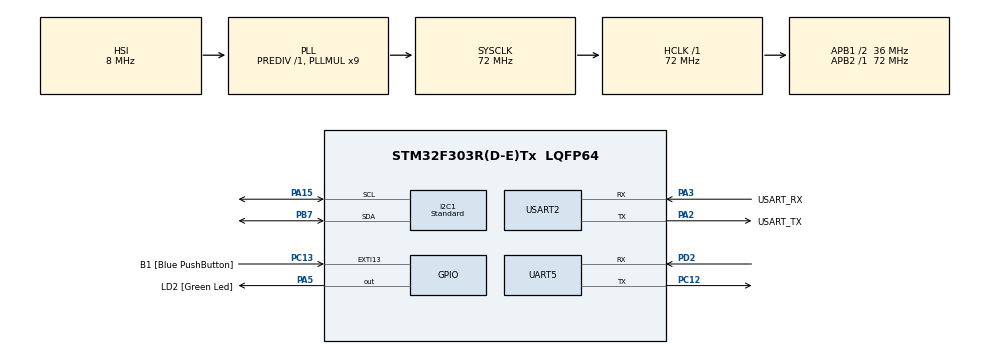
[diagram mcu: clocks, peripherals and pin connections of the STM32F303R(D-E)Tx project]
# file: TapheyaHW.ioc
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I2C1.I2C_Speed_Mode=I2C_Standard
Mcu.Family=STM32F3
Mcu.Name=STM32F303R(D-E)Tx
Mcu.Package=LQFP64
NVIC.PriorityGroup=NVIC_PRIORITYGROUP_0
PA13.GPIO_Label=TMS
PA13.Mode=Serial_Wire
PA13.Signal=SYS_JTMS-SWDIO
PA14.GPIO_Label=TCK
PA14.Mode=Serial_Wire
PA14.Signal=SYS_JTCK-SWCLK
PA15.Mode=I2C
PA15.Signal=I2C1_SCL
PA2.GPIO_Label=USART_TX
PA2.GPIO_Mode=GPIO_MODE_AF_PP
PA2.GPIO_PuPd=GPIO_NOPULL
PA2.GPIO_Speed=GPIO_SPEED_FREQ_LOW
PA2.Mode=Asynchronous
PA2.Signal=USART2_TX
PA3.GPIO_Label=USART_RX
PA3.GPIO_Mode=GPIO_MODE_AF_PP
PA3.GPIO_PuPd=GPIO_NOPULL
PA3.GPIO_Speed=GPIO_SPEED_FREQ_LOW
PA3.Mode=Asynchronous
PA3.Signal=USART2_RX
PA5.GPIO_Label=LD2 [Green Led]
PA5.GPIO_Mode=GPIO_MODE_OUTPUT_PP
PA5.GPIO_PuPd=GPIO_NOPULL
PA5.GPIO_Speed=GPIO_SPEED_FREQ_LOW
PA5.Signal=GPIO_Output
PB3.GPIO_Label=SWO
PB3.Signal=SYS_JTDO-TRACESWO
PB7.Mode=I2C
PB7.Signal=I2C1_SDA
PC12.Mode=Asynchronous
PC12.Signal=UART5_TX
PC13.GPIO_Label=B1 [Blue PushButton]
PC13.GPIO_ModeDefaultEXTI=GPIO_MODE_IT_FALLING
PC13.Signal=GPXTI13
PC14-OSC32_IN.Mode=LSE-External-Oscillator
PC14-OSC32_IN.Signal=RCC_OSC32_IN
PC15-OSC32_OUT.Mode=LSE-External-Oscillator
PC15-OSC32_OUT.Signal=RCC_OSC32_OUT
PD2.Mode=Asynchronous
PD2.Signal=UART5_RX
PF0-OSC_IN.Mode=HSE-External-Clock-Source
PF0-OSC_IN.Signal=RCC_OSC_IN
PF1-OSC_OUT.Signal=RCC_OSC_OUT
ProjectManager.HeapSize=0x200
ProjectManager.StackSize=0x400
ProjectManager.TargetToolchain=STM32CubeIDE
RCC.AHBFreq_Value=72000000
RCC.APB1CLKDivider=RCC_HCLK_DIV2
RCC.APB1Freq_Value=36000000
RCC.APB1TimFreq_Value=72000000
RCC.APB2Freq_Value=72000000
RCC.APB2TimFreq_Value=72000000
RCC.CortexFreq_Value=72000000
RCC.HCLKFreq_Value=72000000
RCC.HSE_VALUE=8000000
RCC.HSI_VALUE=8000000
RCC.PLLM=8
RCC.PLLMUL=RCC_PLL_MUL9
RCC.PLLN=336
RCC.PLLP=RCC_PLLP_DIV4
RCC.PLLQ=7
RCC.RCC_PLLsource_Clock_Source_FROM_HSE=RCC_HSE_PREDIV_DIV2
RCC.SYSCLKFreq_VALUE=72000000
RCC.SYSCLKSourceVirtual=RCC_SYSCLKSOURCE_PLLCLK
RCC.USBFreq_Value=72000000
USART2.VirtualMode-Asynchronous=VM_ASYNC
board=NUCLEO-F303RE

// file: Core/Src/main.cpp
/* USER CODE BEGIN Header */
/**
  ******************************************************************************
  * @file           : main.c
  * @brief          : Main program body
  ******************************************************************************
  * @attention
  *
  * Copyright (c) 2022 STMicroelectronics.
  * All rights reserved.
  *
  * This software is licensed under terms that can be found in the LICENSE file
  * in the root directory of this software component.
  * If no LICENSE file comes with this software, it is provided AS-IS.
  *
  ******************************************************************************
  */
/* USER CODE END Header */
#include "main.h"
#include "crc.h"
#include <stdio.h>
#include <sys/unistd.h>
#include "i2c.h"
#include "usart.h"
#include "gpio.h"
#include "nfc_driver.h"
#include "NdefMessage.h"
#include "ble_driver.h"
#include "cipher.h"

/* CBC context handle */

#define TIMEOUT 60000
#define MAJOR_V 0x01
#define MINOR_V 0x00
#define PATCH_V 0x00
#define HW_VER 0x00
#define HEADER_LEN 0x08
const char SN[] = {'S', 'N', 0x00, 0x00, 0x00, 0x00, 0x00, 0x01};
const uint8_t MAC[6] = {0x54, 0x41, 0x50, 0x2D, 0x5E, 0x4B};
const char APP_VER[] = {'T','A','P','-','A','P','P','-','H','W','-','V',MAJOR_V,'.',MINOR_V, PATCH_V};
const char BT_NAME_PRE[] = {'t','a','p','h','e','y','a'};
const char HW[] = {'R', 'E', 'V', '_', HW_VER};

uint8_t bat_percent = 95;
uint16_t bat_voltage = 4800; //milli volts mV
uint16_t bat_capacity = 480; //mAh
uint8_t bat_charging = 0x01;

void SystemClock_Config(void);

/* USER CODE BEGIN 0 */
NFCDriver nfc(0x28);
BleDriver ble;
Cipher cipher;

bool begin_trans = false;

void sendBatteryInfo() {
    uint16_t len = sizeof(bat_percent) + sizeof(bat_capacity) + sizeof(bat_voltage) + sizeof(bat_charging);
    uint16_t data_len = len + HEADER_LEN;
    uint16_t var_len = len + 3; // 3 bytes for tag(1byte) and length(2bytes)

    uint8_t data[data_len];
    uint8_t var[var_len];

    data[0] = 0x55;
    data[1] = var_len >> 8;
    data[2] = var_len  & 0x00FF;
    data[3] = 0x01;

    var[0] = 0x03;
    var[1] = len >> 8;
    var[2] = len & 0x00FF;

    memcpy(var + 3, &bat_percent, sizeof(bat_percent));
    memcpy(var + 3 + sizeof(bat_percent), &bat_capacity, sizeof(bat_capacity));
    memcpy(var + 3 + sizeof(bat_percent) + sizeof(bat_capacity), &bat_voltage, sizeof(bat_voltage));
    memcpy(var + 3 + sizeof(bat_percent) + sizeof(bat_capacity) + sizeof(bat_voltage), &bat_charging, sizeof(bat_charging));

    memcpy(data + 4 , var, var_len);

    uint8_t crc = 0;
    for(int i = 0; i < sizeof(data) - 1; i++) {
        crc ^= data[i];
    }

    data[data_len - 1] = crc;

    ble.SendData(data, sizeof(data));

}

void sendDeviceInfo() {
    uint16_t ex_data_len = 3;

    uint16_t len = sizeof(SN) + sizeof(MAC) + sizeof(APP_VER) + sizeof(BT_NAME_PRE) + sizeof(HW) + ex_data_len;
    uint16_t data_len = len + HEADER_LEN;
    uint16_t var_len = len + 3; // 3 bytes for tag(1byte) and length(2bytes)

    uint8_t data[data_len];
    uint8_t var[var_len];

    data[0] = 0x55;
    data[1] = var_len >> 8;
    data[2] = var_len  & 0x00FF;
    data[3] = 0x01;

    var[0] = 0x02;
    var[1] = len >> 8;
    var[2] = len & 0x00FF;

    memcpy(var + 3, SN, sizeof(SN));
    memcpy(var + 3 + sizeof(SN), MAC, 6);
    memcpy(var + 3 + sizeof(SN) + sizeof(MAC), APP_VER, sizeof(APP_VER));

    uint8_t bt_name[10];

    memcpy(bt_name, BT_NAME_PRE, 7);
    memcpy(bt_name + 7, SN + 5, 3);

    memcpy(var + 3 + sizeof(SN) + sizeof(MAC) + sizeof(APP_VER), bt_name, 10);
    memcpy(var + 3 + sizeof(SN) + sizeof(MAC) + sizeof(APP_VER) + sizeof(bt_name), HW, sizeof(HW));

    memcpy(data + 4 , var, var_len);

    uint8_t crc = 0;
    for(int i = 0; i < sizeof(data) - 1; i++) {
        crc ^= data[i];
    }

    data[data_len - 1] = crc;

    ble.SendData(data, sizeof(data));

}

void onTagWritten(uint8_t *nfc_data, uint16_t len) {
    nfc.PrintChar(nfc_data, len);
    NdefMessage msg = NdefMessage(nfc_data, len);
    msg.print();
    begin_trans = false;
    uint16_t en_len =  cipher.get_new_size(len); //get new length for cipher
    uint8_t en[en_len];
    cipher.encrypt(nfc_data, len, en);
    uint8_t data[en_len + HEADER_LEN];
    uint16_t var_len = en_len + 3;
    uint8_t var[var_len];
    data[0] = 0x55;
    data[1] = var_len >> 8;
    data[2] = var_len  & 0x00FF;
    data[3] = 0x01;

    var[0] = 0x04;
    var[1] = en_len >> 8;
    var[2] = en_len & 0x00FF;

    memcpy(var + 3, en, en_len);
    memcpy(data + 4 , var, var_len);

    uint8_t crc = 0;

    for(int i = 0; i < sizeof(data) - 1; i++) {
        crc ^= data[i];
    }

    data[en_len + 7] = crc;

    ble.SendData(data, sizeof(data));
}

void onBleReceive(uint8_t *data) {
    printf("Data REC %X\n", data[0]);
    if(data[0] == 0x44) {
        uint16_t len = 0;
        len = (data[1] << 8) | (data[2]);
        printf("LEN %X\n", len);
        uint8_t var[len];
        memcpy(var, data + 3, len);
        printf("TAG %X\n", var[0]);
        switch (var[0]) {
            case 0x02: //get device info
            sendDeviceInfo();
                break;
            case 0x03:
                sendBatteryInfo();
                break;
            case 0x05:
                begin_trans = false;
                printf("Transaction Cancelled..\n");
                break;
            case 0x04:
                begin_trans = true;
                unsigned long start = HAL_GetTick();
                while (!((HAL_GetTick() - start) >= TIMEOUT) && begin_trans)  {
                    nfc.EmulateTag(onTagWritten, TIMEOUT);
                }
                break;
        }
    }
}

/* USER CODE END 0 */
extern void initialise_monitor_handles(void);

int main(void) {
    /* USER CODE BEGIN 1 */

    /* MCU Configuration--------------------------------------------------------*/

    /* Reset of all peripherals, Initializes the Flash interface and the Systick. */
    HAL_Init();

    /* Configure the system clock */
    SystemClock_Config();

    /* Initialize all configured peripherals */
    MX_GPIO_Init();
    MX_I2C1_Init();
    MX_UART5_Init();
    MX_USART2_UART_Init();
    MX_CRC_Init();
    setvbuf(stdout, NULL, _IONBF, 0);
    /* USER CODE BEGIN 2 */

    /* Initialize cryptographic library */
    if (!cipher.init())
    {
        Error_Handler();
    }

//    uint8_t data[cipher.get_new_size(sizeof(To_Encrypt))];
//
//    cipher.encrypt(To_Encrypt, sizeof(To_Encrypt), data);
//
//    printf("%X\n", data[0]);
//
//    uint8_t plain[sizeof(data)];
//
//    cipher.decrypt(data, sizeof(data), plain);
//
//    printf("%X\n", plain[0]);

    uint8_t mode = 2;
    nfc.init(mode);

    ble.init( onBleReceive);

    /* USER CODE END 2 */

    /* Infinite loop */
    while (1) {

    }
}

void SystemClock_Config(void) {
    RCC_OscInitTypeDef RCC_OscInitStruct = {0};
    RCC_ClkInitTypeDef RCC_ClkInitStruct = {0};
    RCC_PeriphCLKInitTypeDef PeriphClkInit = {0};

    /** Initializes the RCC Oscillators according to the specified parameters
    * in the RCC_OscInitTypeDef structure.
    */
    RCC_OscInitStruct.OscillatorType = RCC_OSCILLATORTYPE_HSI;
    RCC_OscInitStruct.HSIState = RCC_HSI_ON;
    RCC_OscInitStruct.HSICalibrationValue = RCC_HSICALIBRATION_DEFAULT;
    RCC_OscInitStruct.PLL.PLLState = RCC_PLL_ON;
    RCC_OscInitStruct.PLL.PLLSource = RCC_PLLSOURCE_HSI;
    RCC_OscInitStruct.PLL.PLLMUL = RCC_PLL_MUL9;
    RCC_OscInitStruct.PLL.PREDIV = RCC_PREDIV_DIV1;
    if (HAL_RCC_OscConfig(&RCC_OscInitStruct) != HAL_OK) {
        Error_Handler();
    }

    /** Initializes the CPU, AHB and APB buses clocks
    */
    RCC_ClkInitStruct.ClockType = RCC_CLOCKTYPE_HCLK | RCC_CLOCKTYPE_SYSCLK
                                  | RCC_CLOCKTYPE_PCLK1 | RCC_CLOCKTYPE_PCLK2;
    RCC_ClkInitStruct.SYSCLKSource = RCC_SYSCLKSOURCE_PLLCLK;
    RCC_ClkInitStruct.AHBCLKDivider = RCC_SYSCLK_DIV1;
    RCC_ClkInitStruct.APB1CLKDivider = RCC_HCLK_DIV2;
    RCC_ClkInitStruct.APB2CLKDivider = RCC_HCLK_DIV1;

    if (HAL_RCC_ClockConfig(&RCC_ClkInitStruct, FLASH_LATENCY_2) != HAL_OK) {
        Error_Handler();
    }
    PeriphClkInit.PeriphClockSelection = RCC_PERIPHCLK_USART2 | RCC_PERIPHCLK_UART5
                                         | RCC_PERIPHCLK_I2C1;
    PeriphClkInit.Usart2ClockSelection = RCC_USART2CLKSOURCE_PCLK1;
    PeriphClkInit.Uart5ClockSelection = RCC_UART5CLKSOURCE_PCLK1;
    PeriphClkInit.I2c1ClockSelection = RCC_I2C1CLKSOURCE_HSI;
    if (HAL_RCCEx_PeriphCLKConfig(&PeriphClkInit) != HAL_OK) {
        Error_Handler();
    }
}

void Error_Handler(void) {
    __disable_irq();
    while (1) {
    }
}
